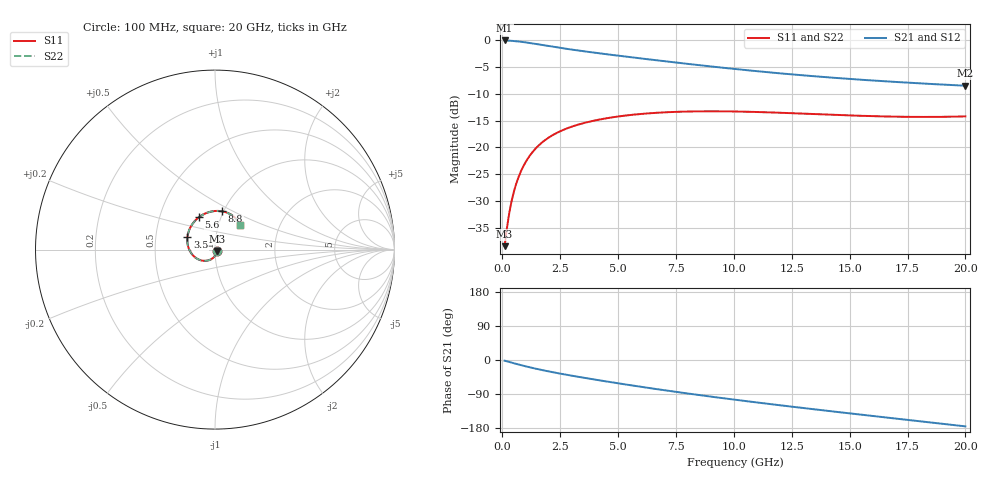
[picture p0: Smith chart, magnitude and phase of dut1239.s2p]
! Touchstone file exported from HFSS 2024.1.0
!  File:  C:/UserFiles/LocalFiles/RDL_TSV_Batchsim/temp_RDL_TSV_1239_1780266606.aedt
!  Generated:  06:45:10 AM Jun  1, 2026
!  Design:  RDL_TSV
!  Project:  temp_RDL_TSV_1239_1780266606
!  Setup:  Setup1
!  Solution:  Sweep
! Variables:
!  dtsv = 13.47um
!  hbump = 3um
!  htsv = 99.01um
!  ldown = 409.26um
!  lrdl = 198.96um
!  p = 40
!  p1 = 43.73um
!  rhole = 10um
!  subl = 2023.62um
!  t = 450um
!  tdown = 4.06um
!  trdl = 4.49um
!  viad = 10um
!  wdown = 16.48um
!  wrdl = 26.85um
!  xbump = 18um
# GHz S MA R 50.000000
! Terminal data exported
! Port[1] = TM1_1_T1
! Port[2] = TM1_4_T1
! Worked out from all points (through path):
!   200 points, 100 MHz to 20 GHz, reference 50 ohm
!   highest |S21| = -0.09 dB at 100 MHz (marker M1); lowest = -8.5 dB at 20 GHz (marker M2)
!   group delay of S21, straight-line fit = 22.8 ps
!   lowest |S11| = -38.4 dB at 100 MHz (marker M3), VSWR 1.02, Z = 50.9 - j0.801 ohm
!   |S11| at or under -10 dB: start of sweep to end of sweep
!   |S22| runs from -38.4 to -13.3 dB; largest |S21 - S12| = 1.5e-14
!   S11 on the Smith chart (normalised r, x): 100 MHz: 1.02, -0.02; 3.5 GHz: 0.73, +0.10; 5.6 GHz: 0.79, +0.29; 8.8 GHz: 0.98, +0.44; 20 GHz: 1.27, +0.36
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0.1  0.01208 -40.6  0.9897 -1.8  0.9897 -1.8  0.01208 -40.6
! Gamma 0 0 0 0
! Port Impedance 50 0 50 0
0.2  0.01775 -63.8  0.9879 -3.5  0.9879 -3.5  0.01775 -63.8
0.3  0.02452 -77.6  0.9852 -5.2  0.9852 -5.2  0.02452 -77.5
0.4  0.03164 -87.3  0.9819 -6.9  0.9819 -6.9  0.03164 -87.3
0.5  0.03881 -95.2  0.9779 -8.6  0.9779 -8.6  0.03881 -95.1
0.6  0.04592 -101.8  0.9734 -10.2  0.9734 -10.2  0.04592 -101.8
0.8  0.05968 -113.3  0.9626 -13.4  0.9626 -13.4  0.05968 -113.3
1.1  0.07876 -127.8  0.9434 -18.0  0.9434 -18.0  0.07875 -127.8
1.5  0.1009 -144.5  0.9147 -23.7  0.9147 -23.7  0.1009 -144.5
2  0.1235 -162.5  0.8784 -30.1  0.8784 -30.1  0.1235 -162.4
2.7  0.1478 176.3  0.832 -38.2  0.832 -38.2  0.1477 176.3
3.5  0.1683 156.0  0.7863 -46.7  0.7863 -46.7  0.1682 156.1
4.5  0.187 135.3  0.7371 -56.7  0.7371 -56.7  0.1868 135.3
5.6  0.2013 116.7  0.6894 -67.1  0.6894 -67.1  0.201 116.7
6.8  0.2111 100.2  0.6422 -78.0  0.6422 -78.0  0.2107 100.3
8.8  0.2171 79.5  0.5737 -94.9  0.5737 -94.9  0.2166 79.5
10.1  0.2161 69.4  0.5358 -105.2  0.5358 -105.2  0.2155 69.4
11.7  0.2116 59.9  0.496 -117.3  0.496 -117.3  0.2109 59.9
13.4  0.2049 52.9  0.4611 -129.6  0.4611 -129.6  0.2043 52.9
15  0.1988 48.5  0.4342 -140.8  0.4342 -140.8  0.1981 48.5
16.7  0.194 45.9  0.4106 -152.6  0.4106 -152.6  0.1933 46.0
20  0.1946 44.6  0.3754 -175.1  0.3754 -175.1  0.194 44.6
